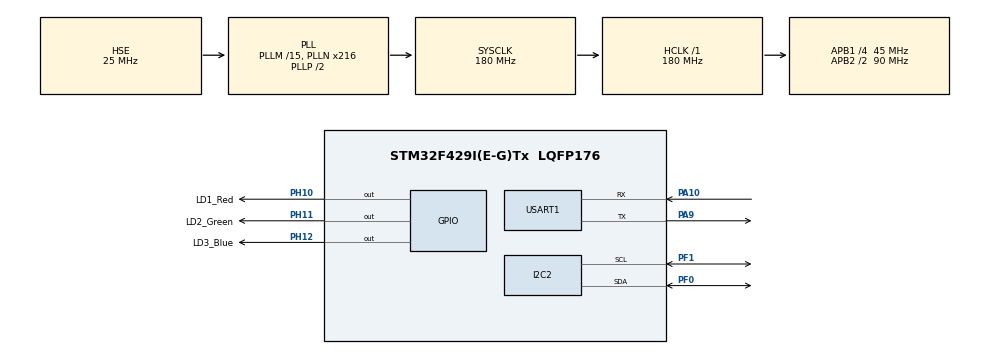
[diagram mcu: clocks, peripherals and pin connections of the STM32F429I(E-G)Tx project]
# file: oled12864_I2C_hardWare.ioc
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Dma.I2C2_TX.0.Direction=DMA_MEMORY_TO_PERIPH
Dma.I2C2_TX.0.FIFOMode=DMA_FIFOMODE_DISABLE
Dma.I2C2_TX.0.Instance=DMA1_Stream7
Dma.I2C2_TX.0.MemDataAlignment=DMA_MDATAALIGN_BYTE
Dma.I2C2_TX.0.MemInc=DMA_MINC_ENABLE
Dma.I2C2_TX.0.Mode=DMA_NORMAL
Dma.I2C2_TX.0.PeriphDataAlignment=DMA_PDATAALIGN_BYTE
Dma.I2C2_TX.0.PeriphInc=DMA_PINC_DISABLE
Dma.I2C2_TX.0.Priority=DMA_PRIORITY_LOW
Dma.Request0=I2C2_TX
I2C2.I2C_Mode=I2C_Fast
Mcu.Family=STM32F4
Mcu.Name=STM32F429I(E-G)Tx
Mcu.Package=LQFP176
NVIC.DMA1_Stream7_IRQn=true\:0\:0\:false\:false\:true\:false\:true
NVIC.I2C2_EV_IRQn=true\:0\:0\:false\:false\:true\:true\:true
NVIC.PriorityGroup=NVIC_PRIORITYGROUP_4
PA10.Mode=Asynchronous
PA10.Signal=USART1_RX
PA13.Mode=Serial_Wire
PA13.Signal=SYS_JTMS-SWDIO
PA14.Mode=Serial_Wire
PA14.Signal=SYS_JTCK-SWCLK
PA9.Mode=Asynchronous
PA9.Signal=USART1_TX
PB8.Signal=I2C1_SCL
PB9.Signal=I2C1_SDA
PF0.Mode=I2C
PF0.Signal=I2C2_SDA
PF1.Mode=I2C
PF1.Signal=I2C2_SCL
PH0/OSC_IN.Mode=HSE-External-Oscillator
PH0/OSC_IN.Signal=RCC_OSC_IN
PH1/OSC_OUT.Mode=HSE-External-Oscillator
PH1/OSC_OUT.Signal=RCC_OSC_OUT
PH10.GPIO_Label=LD1_Red
PH10.PinState=GPIO_PIN_SET
PH10.Signal=GPIO_Output
PH11.GPIO_Label=LD2_Green
PH11.PinState=GPIO_PIN_SET
PH11.Signal=GPIO_Output
PH12.GPIO_Label=LD3_Blue
PH12.PinState=GPIO_PIN_SET
PH12.Signal=GPIO_Output
ProjectManager.HeapSize=0x200
ProjectManager.StackSize=0x400
ProjectManager.TargetToolchain=STM32CubeIDE
RCC.48MHZClocksFreq_Value=90000000
RCC.AHBFreq_Value=180000000
RCC.APB1CLKDivider=RCC_HCLK_DIV4
RCC.APB1Freq_Value=45000000
RCC.APB1TimFreq_Value=90000000
RCC.APB2CLKDivider=RCC_HCLK_DIV2
RCC.APB2Freq_Value=90000000
RCC.APB2TimFreq_Value=180000000
RCC.CortexFreq_Value=180000000
RCC.HCLKFreq_Value=180000000
RCC.HSE_VALUE=25000000
RCC.HSI_VALUE=16000000
RCC.LSE_VALUE=32768
RCC.PLLM=15
RCC.PLLN=216
RCC.PLLSourceVirtual=RCC_PLLSOURCE_HSE
RCC.SYSCLKFreq_VALUE=180000000
RCC.SYSCLKSource=RCC_SYSCLKSOURCE_PLLCLK
RCC.VCOOutputFreq_Value=360000000
USART1.VirtualMode=VM_ASYNC
board=custom

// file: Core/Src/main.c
/* USER CODE BEGIN Header */
/**
  ******************************************************************************
  * @file           : main.c
  * @brief          : Main program body
  ******************************************************************************
  * @attention
  *
  * Copyright (c) 2022 STMicroelectronics.
  * All rights reserved.
  *
  * This software is licensed under terms that can be found in the LICENSE file
  * in the root directory of this software component.
  * If no LICENSE file comes with this software, it is provided AS-IS.
  *
  ******************************************************************************
  */
/* USER CODE END Header */
#include "main.h"

/* USER CODE BEGIN Includes */
#include "stdio.h"
#include "oled12864_I2C.h"
/* USER CODE END Includes */

I2C_HandleTypeDef hi2c2;
DMA_HandleTypeDef hdma_i2c2_tx;

UART_HandleTypeDef huart1;

void SystemClock_Config(void);
static void MX_GPIO_Init(void);
static void MX_USART1_UART_Init(void);
static void MX_DMA_Init(void);
static void MX_I2C2_Init(void);

/* USER CODE BEGIN 0 */

int _write(int file, char *ptr, int len)
{
	HAL_UART_Transmit(&huart1, (uint8_t *)ptr, len, 100);
	return len;
}

/* USER CODE END 0 */

int main(void)
{

  /* MCU Configuration--------------------------------------------------------*/

  /* Reset of all peripherals, Initializes the Flash interface and the Systick. */
  HAL_Init();

  /* Configure the system clock */
  SystemClock_Config();

  /* Initialize all configured peripherals */
  MX_GPIO_Init();
  MX_USART1_UART_Init();
  MX_DMA_Init();
  MX_I2C2_Init();
  /* USER CODE BEGIN 2 */

  uint8_t res = oled_i2c_Init();

  if (res != 0)
	  HAL_GPIO_TogglePin(LD1_Red_GPIO_Port, LD1_Red_Pin);
  printf("%d\r\n", res);

//  oled_Fill_Screen_Color(oled_color_White);

//  HAL_Delay(100);
//  oled_Draw_Round_Rectangle(0, 0, 127, 63, 10, line_width_bold);
//  oled_Update_Screen();

//  HAL_Delay(100);
//  oled_Draw_Character(12, 12, '7', oled_Font_ASCII_16_32_digital7V4);
//  oled_Update_Screen();

  HAL_Delay(500);
  oled_Draw_Chinese_String(4, 0, oled_chinese_str_16_16_songTi, 2 , 10);
  oled_Update_Screen();

//  HAL_Delay(100);
//  oled_Draw_Chinese_String(0, 0, oled_chinese_str_24_24_songTi, 0 , 10);
//  oled_Update_Screen();

  HAL_Delay(1000);
  oled_Draw_Chinese_String(0, 32, oled_chinese_str_24_24_songTi, 1 , 4);
  oled_Update_Screen();

//  HAL_Delay(100);
  HAL_Delay(1000);
  oled_Fill_Screen_Color(oled_color_Black);
  unsigned char str1[] = "0.96' oled";
  oled_Draw_String(8, 16, str1, sizeof(str1), oled_Font_ASCII_12_24_courierNew);
  oled_Update_Screen();

//  HAL_Delay(100);
  HAL_Delay(1000);
  oled_Fill_Screen_Color(oled_color_Black);
  oled_Draw_Round_Rectangle(3, 2, 120, 60, 12, line_width_slim);
  oled_Update_Screen();

  HAL_Delay(1000);
  oled_Draw_rectangle(12, 12, 22, 22, line_width_medium, graphic_fill_hollow);
  oled_Draw_rectangle(12, 25, 22, 54, line_width_slim, graphic_fill_solid);
  oled_Update_Screen();

  HAL_Delay(1000);
  oled_Draw_Ellipse(43, 32, 16, 12, line_width_bold, graphic_fill_hollow);
  oled_Update_Screen();

  HAL_Delay(1000);
  oled_Draw_Line(125, 10, 125, 56, line_width_medium);
  oled_Update_Screen();

  HAL_Delay(1000);
  oled_Draw_Circular_Arc(60, 32, 20, -90, 45, line_width_bold);
  oled_Update_Screen();

  HAL_Delay(1000);
  oled_Draw_Round_Rectangle(85, 10, 110, 54, 6, line_width_bold);
  oled_Update_Screen();

//  HAL_Delay(100);
//  oled_Draw_Circular_Arc(64, 32, 30, 90, 0, line_width_medium);
//  oled_Update_Screen();
//
//  HAL_Delay(100);
//  oled_Draw_Circular_Arc(64, 32, 30, -90, 0, line_width_slim);
//  oled_Update_Screen();
//
//  HAL_Delay(100);
//  oled_Draw_Circular_Arc(64, 32, 30, 180, 270, line_width_bold);
//  oled_Update_Screen();
//
//  HAL_Delay(100);
//  oled_Draw_rectangle(74, 22, 54, 42, line_width_medium, graphic_fill_hollow);
//  oled_Update_Screen();

  //
//  HAL_Delay(200);
//  oled_Draw_Ellipse(50, 32, 14, 14, line_width_medium, graphic_fill_solid);
//  oled_Update_Screen();
//
//
//  HAL_Delay(100);
//  oled_Draw_rectangle(16, 8, 28, 32, line_width_bold, graphic_fill_hollow);
//  oled_Update_Screen();
//
//
//  HAL_Delay(200);
////  oled_Set_Display_Normal_Inverse(display_invers);
//
//
//  HAL_Delay(200);
//  printf("############################################\r\n");

//
//  HAL_Delay(200);
//  oled_Draw_Line(60, 60, 120, 0, line_width_bold);
//  oled_Update_Screen();
//
//  HAL_Delay(200);
//  oled_Draw_Line(60, 60, 120, 16, line_width_bold);
//  oled_Update_Screen();
//
//  HAL_Delay(200);
//  oled_Draw_Line(60, 60, 120, 32, line_width_bold);
//  oled_Update_Screen();

//  for (uint8_t i = 0; i < 16; i++)
//    {
//  	  unsigned char ch = '0' + i;
//  	  HAL_Delay(200);
//  	  oled_Draw_Character(i*oled_Font_ASCII_08_16_courierNew.font_Width, 0, ch, oled_Font_ASCII_08_16_courierNew);
//  	  oled_Update_Screen();
//    }
//
//  for (uint8_t i = 0; i < 16; i++)
//    {
//  	  unsigned char ch = '0' + i;
//  	  HAL_Delay(200);
//  	  oled_Draw_Character(i*oled_Font_ASCII_08_16_digital7V4.font_Width, 16, ch, oled_Font_ASCII_08_16_digital7V4);
//  	  oled_Update_Screen();
//    }
//
//  for (uint8_t i = 0; i < 9; i++)
//  {
//	  unsigned char ch = '0' + i;
//	  HAL_Delay(200);
//	  oled_Draw_Character(i*oled_Font_ASCII_16_32_courierNew.font_Width, 32, ch, oled_Font_ASCII_16_32_courierNew);
//	  oled_Update_Screen();
//  }

  HAL_Delay(2000);
  oled_Draw_BitMap(oled_bitmap_128_64, 0);
  oled_Update_Screen();

  printf("init succeed...\r\n");
  /* USER CODE END 2 */

  /* Infinite loop */
  /* USER CODE BEGIN WHILE */
  while (1)
  {
	  HAL_GPIO_TogglePin(LD2_Green_GPIO_Port, LD2_Green_Pin);
	  HAL_Delay(100);
	  HAL_GPIO_TogglePin(LD2_Green_GPIO_Port, LD2_Green_Pin);
	  HAL_Delay(3000);

    /* USER CODE END WHILE */

  }
}

void SystemClock_Config(void)
{
  RCC_OscInitTypeDef RCC_OscInitStruct = {0};
  RCC_ClkInitTypeDef RCC_ClkInitStruct = {0};

  /** Configure the main internal regulator output voltage
  */
  __HAL_RCC_PWR_CLK_ENABLE();
  __HAL_PWR_VOLTAGESCALING_CONFIG(PWR_REGULATOR_VOLTAGE_SCALE1);
  /** Initializes the RCC Oscillators according to the specified parameters
  * in the RCC_OscInitTypeDef structure.
  */
  RCC_OscInitStruct.OscillatorType = RCC_OSCILLATORTYPE_HSE;
  RCC_OscInitStruct.HSEState = RCC_HSE_ON;
  RCC_OscInitStruct.PLL.PLLState = RCC_PLL_ON;
  RCC_OscInitStruct.PLL.PLLSource = RCC_PLLSOURCE_HSE;
  RCC_OscInitStruct.PLL.PLLM = 15;
  RCC_OscInitStruct.PLL.PLLN = 216;
  RCC_OscInitStruct.PLL.PLLP = RCC_PLLP_DIV2;
  RCC_OscInitStruct.PLL.PLLQ = 4;
  if (HAL_RCC_OscConfig(&RCC_OscInitStruct) != HAL_OK)
  {
    Error_Handler();
  }
  /** Activate the Over-Drive mode
  */
  if (HAL_PWREx_EnableOverDrive() != HAL_OK)
  {
    Error_Handler();
  }
  /** Initializes the CPU, AHB and APB buses clocks
  */
  RCC_ClkInitStruct.ClockType = RCC_CLOCKTYPE_HCLK|RCC_CLOCKTYPE_SYSCLK
                              |RCC_CLOCKTYPE_PCLK1|RCC_CLOCKTYPE_PCLK2;
  RCC_ClkInitStruct.SYSCLKSource = RCC_SYSCLKSOURCE_PLLCLK;
  RCC_ClkInitStruct.AHBCLKDivider = RCC_SYSCLK_DIV1;
  RCC_ClkInitStruct.APB1CLKDivider = RCC_HCLK_DIV4;
  RCC_ClkInitStruct.APB2CLKDivider = RCC_HCLK_DIV2;

  if (HAL_RCC_ClockConfig(&RCC_ClkInitStruct, FLASH_LATENCY_5) != HAL_OK)
  {
    Error_Handler();
  }
}

static void MX_I2C2_Init(void)
{

  hi2c2.Instance = I2C2;
  hi2c2.Init.ClockSpeed = 400000;
  hi2c2.Init.DutyCycle = I2C_DUTYCYCLE_2;
  hi2c2.Init.OwnAddress1 = 0;
  hi2c2.Init.AddressingMode = I2C_ADDRESSINGMODE_7BIT;
  hi2c2.Init.DualAddressMode = I2C_DUALADDRESS_DISABLE;
  hi2c2.Init.OwnAddress2 = 0;
  hi2c2.Init.GeneralCallMode = I2C_GENERALCALL_DISABLE;
  hi2c2.Init.NoStretchMode = I2C_NOSTRETCH_DISABLE;
  if (HAL_I2C_Init(&hi2c2) != HAL_OK)
  {
    Error_Handler();
  }
  /** Configure Analogue filter
  */
  if (HAL_I2CEx_ConfigAnalogFilter(&hi2c2, I2C_ANALOGFILTER_ENABLE) != HAL_OK)
  {
    Error_Handler();
  }
  /** Configure Digital filter
  */
  if (HAL_I2CEx_ConfigDigitalFilter(&hi2c2, 0) != HAL_OK)
  {
    Error_Handler();
  }

}

static void MX_USART1_UART_Init(void)
{

  huart1.Instance = USART1;
  huart1.Init.BaudRate = 115200;
  huart1.Init.WordLength = UART_WORDLENGTH_8B;
  huart1.Init.StopBits = UART_STOPBITS_1;
  huart1.Init.Parity = UART_PARITY_NONE;
  huart1.Init.Mode = UART_MODE_TX_RX;
  huart1.Init.HwFlowCtl = UART_HWCONTROL_NONE;
  huart1.Init.OverSampling = UART_OVERSAMPLING_16;
  if (HAL_UART_Init(&huart1) != HAL_OK)
  {
    Error_Handler();
  }

}

static void MX_DMA_Init(void)
{

  /* DMA controller clock enable */
  __HAL_RCC_DMA1_CLK_ENABLE();

  /* DMA interrupt init */
  /* DMA1_Stream7_IRQn interrupt configuration */
  HAL_NVIC_SetPriority(DMA1_Stream7_IRQn, 0, 0);
  HAL_NVIC_EnableIRQ(DMA1_Stream7_IRQn);

}

static void MX_GPIO_Init(void)
{
  GPIO_InitTypeDef GPIO_InitStruct = {0};

  /* GPIO Ports Clock Enable */
  __HAL_RCC_GPIOF_CLK_ENABLE();
  __HAL_RCC_GPIOH_CLK_ENABLE();
  __HAL_RCC_GPIOA_CLK_ENABLE();
  __HAL_RCC_GPIOB_CLK_ENABLE();

  /*Configure GPIO pin Output Level */
  HAL_GPIO_WritePin(GPIOH, LD1_Red_Pin|LD2_Green_Pin|LD3_Blue_Pin, GPIO_PIN_SET);

  /*Configure GPIO pins : LD1_Red_Pin LD2_Green_Pin LD3_Blue_Pin */
  GPIO_InitStruct.Pin = LD1_Red_Pin|LD2_Green_Pin|LD3_Blue_Pin;
  GPIO_InitStruct.Mode = GPIO_MODE_OUTPUT_PP;
  GPIO_InitStruct.Pull = GPIO_NOPULL;
  GPIO_InitStruct.Speed = GPIO_SPEED_FREQ_LOW;
  HAL_GPIO_Init(GPIOH, &GPIO_InitStruct);

  /*Configure GPIO pins : PB8 PB9 */
  GPIO_InitStruct.Pin = GPIO_PIN_8|GPIO_PIN_9;
  GPIO_InitStruct.Mode = GPIO_MODE_AF_OD;
  GPIO_InitStruct.Pull = GPIO_NOPULL;
  GPIO_InitStruct.Speed = GPIO_SPEED_FREQ_VERY_HIGH;
  GPIO_InitStruct.Alternate = GPIO_AF4_I2C1;
  HAL_GPIO_Init(GPIOB, &GPIO_InitStruct);

}

void Error_Handler(void)
{
  __disable_irq();
  while (1)
  {
  }
}
